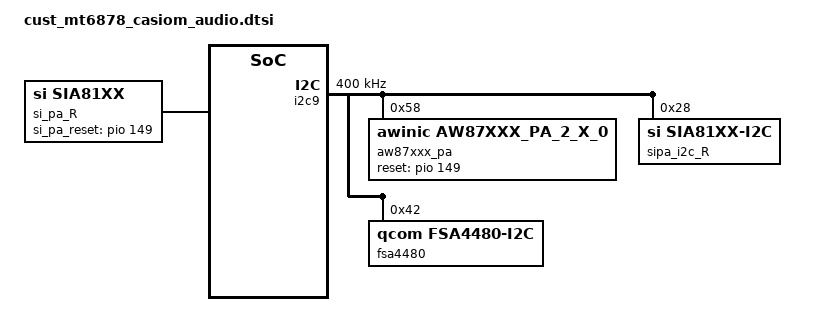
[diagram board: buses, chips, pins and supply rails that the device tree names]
/* Copyright (c) 2018, The Linux Foundation. All rights reserved.
 *
 * This program is free software; you can redistribute it and/or modify
 * it under the terms of the GNU General Public License version 2 and
 * only version 2 as published by the Free Software Foundation.
 *
 * This program is distributed in the hope that it will be useful,
 * but WITHOUT ANY WARRANTY; without even the implied warranty of
 * MERCHANTABILITY or FITNESS FOR A PARTICULAR PURPOSE.  See the
 * GNU General Public License for more details.
 */
&pio {
	sia81xx_gpio_R: sia81xx_gpio_R {
		pins_cmd_dat {
			pinmux = <PINMUX_GPIO149__FUNC_GPIO149>;
			slew-rate = <1>;
			bias-disable;
		};
	};
};

&odm {
	si_pa_R: si_pa_R {
		compatible = "si,sia81xx";
		si,si_pa_type = "sia81x9";
		si,si_pa_reset = <&pio 149 0>;
		pinctrl-names = "si_pa_gpio";
		pinctrl-0 = <&sia81xx_gpio_R>;
		en_compatible_type_func = <1>;
		si,si_pa_disable_pin = <0>;
		en_dynamic_id = <0>;
		en_irq_func = <0>;
		channel_num = <1>;
	};
};

&sound {
	si,sia81xx-max-num = <1>;
	si,sia81xx-aux-devs = <&si_pa_R>;
	si,sia81xx-aux-devs-prefix = "SpkrRight";
	si,is_analog_pa = <1>;
};

&i2c9 {
	#address-cells = <1>;
	#size-cells = <0>;
	clock-frequency = <400000>;

	aw87xxx_pa@58 {
		compatible = "awinic,aw87xxx_pa_2_x_0";
		reg = <0x58>;
		reset-gpio = <&pio 149 0>;
		dev_index = < 1 >;
		status = "okay";
	};

	sipa_i2c_R: sipa_i2c_R@28{
		compatible = "si,sia81xx-i2c";
		#sound-dai-cells = <0>;
		reg = <0x28>;
		si,sipa-dev = <&si_pa_R>;
		status = "okay";
	};

	fsa4480: fsa4480@42 {
		compatible = "qcom,fsa4480-i2c";
		reg = <0x42>;
		fsa4480,hp-bypass = <1>;
		status = "okay";
	};
};

&accdet {
	headset-three-key-threshold = <0 80 220 400>;
	headset-eint0-disable = <1>;
	typec_switch_type = <2>;
};
